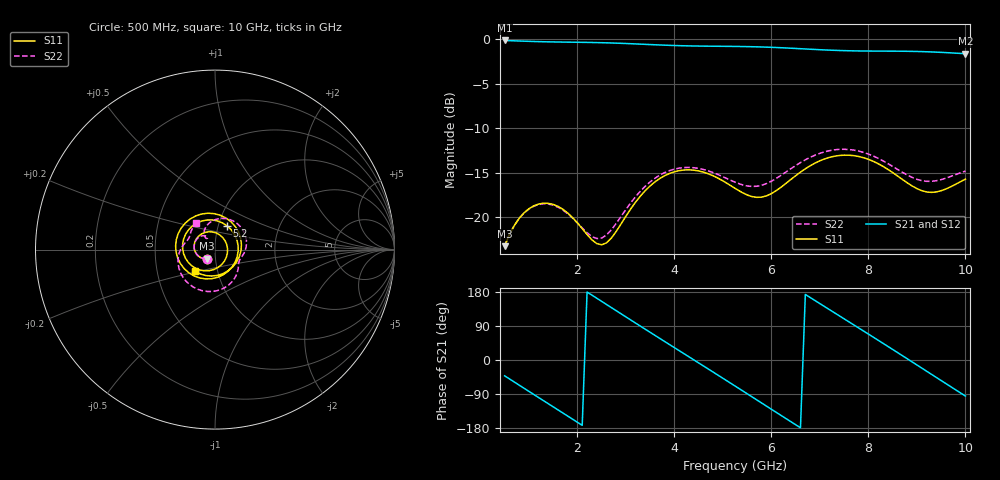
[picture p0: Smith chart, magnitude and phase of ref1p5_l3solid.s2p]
! Touchstone file exported from HFSS 3D Layout Design 2026.1.0
!  File:  D:/Work/ADS/HFSS_VERDICT/hfss_sma_connector_cpw.aedt
!  Generated:  12:40:07 PM Aug  6, 2026
!  Design:  SINGLE_END_SMA_CPW_30MM
!  Project:  hfss_sma_connector_cpw
! Variables:
!  $sma_Base_D = 6.25mm
!  $sma_Base_L = 8mm
!  $sma_Feet_L = 4mm
!  $sma_Feet_W = 1mm
!  $sma_Front_L = 1.5mm
!  $sma_Front_W = 6.5mm
!  $sma_Hole_D = 1.25mm
!  $sma_PTFE_D = 4.2mm
!  $sma_Pin_D = 0.95mm
!  $sma_Pin_P = 1.7mm
# GHz S MA R 50.000000
! Terminal data exported
! Port[1] = Port1
! Port[2] = S1_1_Pin_T1
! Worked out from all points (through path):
!   96 points, 500 MHz to 10 GHz, reference 50 ohm
!   highest |S21| = -0.11 dB at 500 MHz (marker M1); lowest = -1.6 dB at 10 GHz (marker M2)
!   group delay of S21, straight-line fit = 226 ps
!   lowest |S11| = -23.3 dB at 500 MHz (marker M3), VSWR 1.15, Z = 45.4 - j4.64 ohm
!   |S11| at or under -10 dB: start of sweep to end of sweep
!   |S22| runs from -23.2 to -12.3 dB; largest |S21 - S12| = 1.6e-14
!   S11 on the Smith chart (normalised r, x): 500 MHz: 0.91, -0.09; 5.2 GHz: 1.10, +0.30; 10 GHz: 0.78, -0.20
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0.5  0.06877 -132.2  0.9877 -41.7  0.9877 -41.7  0.06905 -133.1
0.9  0.1058 -166.0  0.9785 -74.5  0.9785 -74.5  0.1056 -166.1
1.3  0.12 159.1  0.9714 -107.1  0.9714 -107.1  0.1191 163.5
1.7  0.111 120.8  0.9671 -139.7  0.9671 -139.7  0.1098 137.7
2.1  0.08631 72.8  0.964 -172.4  0.964 -172.4  0.08708 122.4
2.5  0.07003 3.8  0.9594 154.8  0.9594 154.8  0.07638 125.8
3  0.1012 -80.7  0.9494 113.8  0.9494 113.8  0.1106 123.7
3.3  0.1316 -115.9  0.9417 89.3  0.9417 89.3  0.1403 109.6
3.7  0.1653 -154.8  0.9315 56.9  0.9315 56.9  0.1726 84.2
4.4  0.1841 143.0  0.9195 0.4  0.9195 0.4  0.19 35.8
4.8  0.1711 105.6  0.9165 -31.9  0.9165 -31.9  0.1783 10.4
5.2  0.1484 62.7  0.9144 -64.5  0.9144 -64.5  0.1597 -9.9
5.3  0.1427 50.7  0.9137 -72.6  0.9137 -72.6  0.1556 -13.8
5.7  0.1294 -3.2  0.9093 -105.4  0.9093 -105.4  0.1494 -26.1
6.2  0.1477 -72.1  0.8989 -146.3  0.8989 -146.3  0.1722 -42.4
6.9  0.2017 -148.3  0.8788 156.9  0.8788 156.9  0.2236 -80.4
7.7  0.2221 138.5  0.8632 92.6  0.8632 92.6  0.2386 -133.0
8.1  0.2064 101.0  0.8607 60.4  0.8607 60.4  0.2211 -158.0
8.5  0.1785 59.5  0.8598 27.9  0.8598 27.9  0.1932 -179.3
9.2  0.1388 -30.0  0.8532 -29.5  0.8532 -29.5  0.1593 156.9
9.6  0.1443 -84.8  0.8439 -62.4  0.8439 -62.4  0.166 144.4
10  0.1639 -132.1  0.8316 -95.1  0.8316 -95.1  0.1818 125.5
